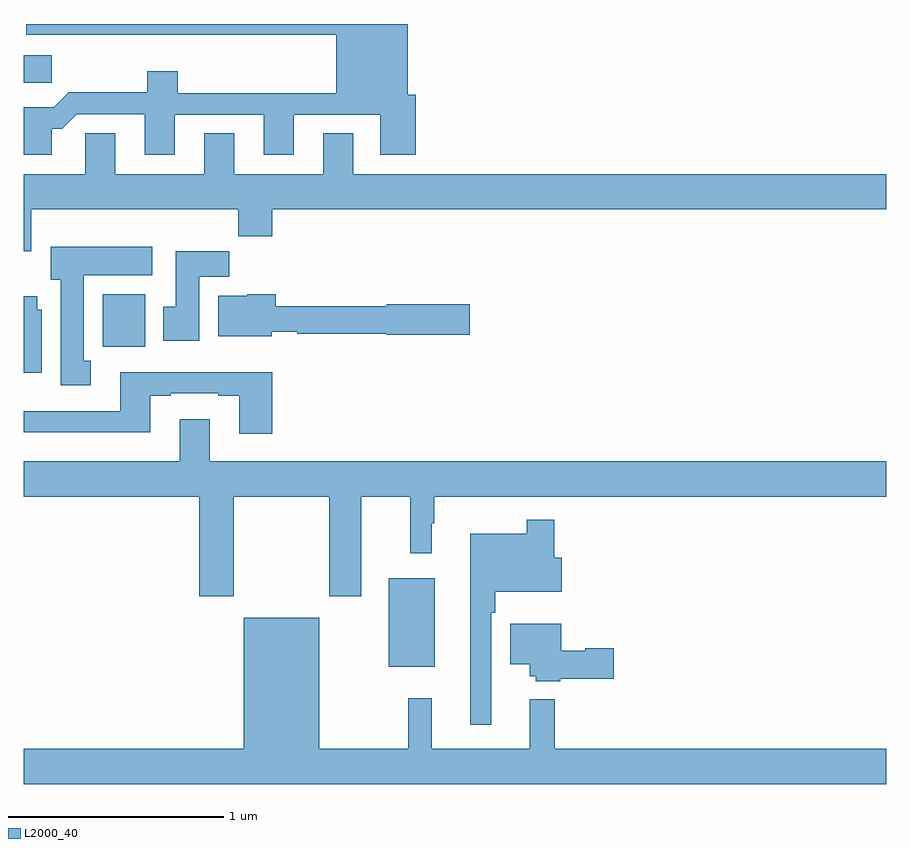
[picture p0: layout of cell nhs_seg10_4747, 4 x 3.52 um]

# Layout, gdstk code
import gdstk
lib = gdstk.Library(unit=1e-6, precision=1e-09)
def R(c, l, rs):  # rectangles x0, y0, x1, y1
    for r in rs: c.add(gdstk.rectangle(r[:2], r[2:], *l))
def P(c, l, *ps):  # polygons
    for p in ps: c.add(gdstk.Polygon(p, *l))
L2000_40 = (2000, 40)

nhs_seg10_4747 = lib.new_cell('nhs_seg10_4747')
R(nhs_seg10_4747, L2000_40, [(384.692,1307.519,384.907,1307.929), (383.366,1309.004,383.563,1309.246), (383,1310.227,383.131,1310.356)])
P(nhs_seg10_4747, L2000_40, [(383.131,1310.015),(383.18,1310.015),(383.247,1310.082),(383.561,1310.082),(383.561,1309.893),(383.701,1309.893),(383.701,1310.079),(384.113,1310.079),(384.113,1309.893),(384.253,1309.893),(384.253,1310.079),(384.653,1310.079),(384.653,1309.893),(384.818,1309.893),(384.818,1310.172),(384.781,1310.172),(384.781,1310.5),(383.012,1310.5),(383.012,1310.45),(384.449,1310.45),(384.449,1310.18),(383.714,1310.18),(383.714,1310.281),(383.572,1310.281),(383.572,1310.183),(383.21,1310.183),(383.14,1310.113),(383,1310.113),(383,1309.893),(383.131,1309.893)],
  [(383.035,1309.64),(383.995,1309.64),(383.995,1309.516),(384.152,1309.516),(384.152,1309.64),(387,1309.64),(387,1309.804),(384.529,1309.804),(384.529,1309.994),(384.389,1309.994),(384.389,1309.804),(383.977,1309.804),(383.977,1309.994),(383.837,1309.994),(383.837,1309.804),(383.425,1309.804),(383.425,1309.994),(383.286,1309.994),(383.286,1309.804),(383,1309.804),(383,1309.446),(383.035,1309.446)],
  [(383.311,1308.938),(383.278,1308.938),(383.278,1309.334),(383.596,1309.334),(383.596,1309.468),(383.126,1309.468),(383.126,1309.314),(383.171,1309.314),(383.171,1308.825),(383.311,1308.825)],
  [(383.815,1309.328),(383.954,1309.328),(383.954,1309.447),(383.705,1309.447),(383.705,1309.188),(383.648,1309.188),(383.648,1309.032),(383.815,1309.032)],
  [(384.15,1309.074),(384.268,1309.074),(384.268,1309.063),(384.684,1309.063),(384.684,1309.058),(385.069,1309.058),(385.069,1309.2),(384.684,1309.2),(384.684,1309.192),(384.168,1309.192),(384.168,1309.246),(384.036,1309.246),(384.036,1309.24),(383.903,1309.24),(383.903,1309.052),(384.15,1309.052)],
  [(383.083,1309.176),(383.062,1309.176),(383.062,1309.237),(383,1309.237),(383,1308.884),(383.083,1308.884)],
  [(384.152,1308.886),(383.447,1308.886),(383.447,1308.705),(383,1308.705),(383,1308.608),(383.587,1308.608),(383.587,1308.777),(383.683,1308.777),(383.683,1308.789),(383.903,1308.789),(383.903,1308.777),(383.999,1308.777),(383.999,1308.6),(384.152,1308.6)],
  [(383.973,1308.308),(384.418,1308.308),(384.418,1307.847),(384.565,1307.847),(384.565,1308.308),(384.793,1308.308),(384.793,1308.045),(384.892,1308.045),(384.892,1308.185),(384.904,1308.185),(384.904,1308.308),(387,1308.308),(387,1308.472),(383.863,1308.472),(383.863,1308.667),(383.723,1308.667),(383.723,1308.472),(383,1308.472),(383,1308.308),(383.813,1308.308),(383.813,1307.847),(383.973,1307.847)],
  [(385.167,1307.771),(385.187,1307.771),(385.187,1307.867),(385.495,1307.867),(385.495,1308.025),(385.46,1308.025),(385.46,1308.202),(385.332,1308.202),(385.332,1308.136),(385.07,1308.136),(385.07,1307.25),(385.167,1307.25)],
  [(387,1307.14),(385.463,1307.14),(385.463,1307.368),(385.346,1307.368),(385.346,1307.14),(384.893,1307.14),(384.893,1307.374),(384.783,1307.374),(384.783,1307.14),(384.37,1307.14),(384.37,1307.746),(384.02,1307.746),(384.02,1307.14),(383,1307.14),(383,1306.976),(387,1306.976)],
  [(385.488,1307.464),(385.735,1307.464),(385.735,1307.606),(385.605,1307.606),(385.605,1307.593),(385.492,1307.593),(385.492,1307.719),(385.256,1307.719),(385.256,1307.531),(385.346,1307.531),(385.346,1307.475),(385.374,1307.475),(385.374,1307.453),(385.488,1307.453)])

lib.write_gds('nhs_seg10_4747.gds')
